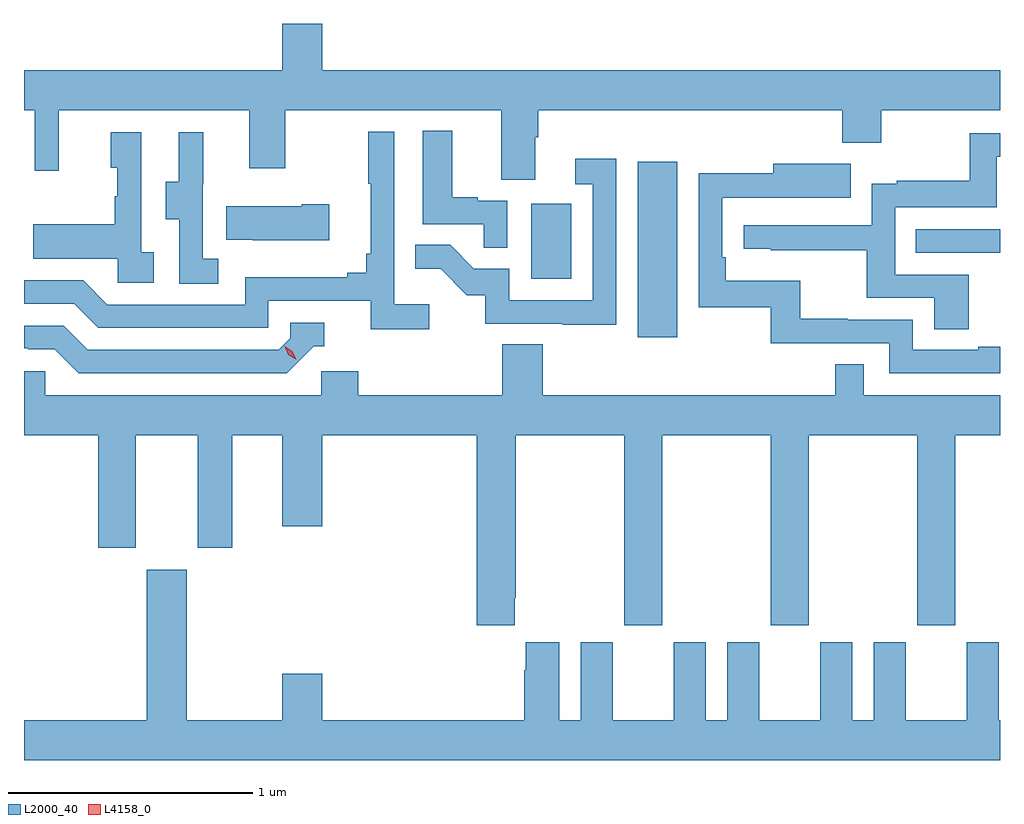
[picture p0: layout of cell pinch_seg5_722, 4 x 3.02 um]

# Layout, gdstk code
import gdstk
lib = gdstk.Library(unit=1e-6, precision=1e-09)
def R(c, l, rs):  # rectangles x0, y0, x1, y1
    for r in rs: c.add(gdstk.rectangle(r[:2], r[2:], *l))
def P(c, l, *ps):  # polygons
    for p in ps: c.add(gdstk.Polygon(p, *l))
L2000_40 = (2000, 40)
L4158_0 = (4158, 0)

pinch_seg5_722 = lib.new_cell('pinch_seg5_722')
R(pinch_seg5_722, L2000_40, [(1113.518,845.172,1113.679,845.893), (1113.08,845.412,1113.244,845.719), (1114.657,845.52,1115.002,845.616)])
P(pinch_seg5_722, L2000_40, [(1113.097,845.992),(1113.11,845.992),(1113.11,846.104),(1114.355,846.104),(1114.355,845.969),(1114.515,845.969),(1114.515,846.104),(1115.002,846.104),(1115.002,846.268),(1112.224,846.268),(1112.224,846.457),(1112.06,846.457),(1112.06,846.268),(1111.002,846.268),(1111.002,846.104),(1111.047,846.104),(1111.047,845.856),(1111.145,845.856),(1111.145,846.104),(1111.925,846.104),(1111.925,845.865),(1112.073,845.865),(1112.073,846.104),(1112.957,846.104),(1112.957,845.818),(1113.097,845.818)],
  [(1112.982,845.733),(1112.861,845.733),(1112.861,845.746),(1112.758,845.746),(1112.758,846.019),(1112.636,846.019),(1112.636,845.637),(1112.887,845.637),(1112.887,845.539),(1112.982,845.539)],
  [(1112.662,845.308),(1112.52,845.308),(1112.52,846.016),(1112.412,846.016),(1112.412,845.803),(1112.423,845.803),(1112.423,845.515),(1112.404,845.515),(1112.404,845.438),(1112.327,845.438),(1112.327,845.419),(1111.908,845.419),(1111.908,845.307),(1111.344,845.307),(1111.245,845.406),(1111.002,845.406),(1111.002,845.31),(1111.208,845.31),(1111.307,845.211),(1112.004,845.211),(1112.004,845.322),(1112.423,845.322),(1112.423,845.206),(1112.662,845.206)],
  [(1111.798,845.495),(1111.734,845.495),(1111.734,845.799),(1111.736,845.799),(1111.736,846.013),(1111.637,846.013),(1111.637,845.811),(1111.583,845.811),(1111.583,845.656),(1111.638,845.656),(1111.638,845.392),(1111.798,845.392)],
  [(1111.534,845.522),(1111.482,845.522),(1111.482,846.013),(1111.358,846.013),(1111.358,845.868),(1111.384,845.868),(1111.384,845.75),(1111.374,845.75),(1111.374,845.635),(1111.039,845.635),(1111.039,845.495),(1111.386,845.495),(1111.386,845.397),(1111.534,845.397)],
  [(1114.873,845.43),(1114.572,845.43),(1114.572,845.706),(1114.989,845.706),(1114.989,845.912),(1115.002,845.912),(1115.002,846.009),(1114.878,846.009),(1114.878,845.815),(1114.579,845.815),(1114.579,845.803),(1114.476,845.803),(1114.476,845.631),(1113.951,845.631),(1113.951,845.535),(1114.063,845.535),(1114.063,845.53),(1114.456,845.53),(1114.456,845.334),(1114.733,845.334),(1114.733,845.206),(1114.873,845.206)],
  [(1113.429,845.905),(1113.261,845.905),(1113.261,845.799),(1113.333,845.799),(1113.333,845.325),(1112.991,845.325),(1112.991,845.454),(1112.846,845.454),(1112.748,845.552),(1112.605,845.552),(1112.605,845.453),(1112.709,845.453),(1112.816,845.346),(1112.893,845.346),(1112.893,845.229),(1113.211,845.229),(1113.211,845.224),(1113.429,845.224)],
  [(1115.002,845.134),(1114.913,845.134),(1114.913,845.121),(1114.644,845.121),(1114.644,845.244),(1114.379,845.244),(1114.379,845.249),(1114.183,845.249),(1114.183,845.404),(1113.878,845.404),(1113.878,845.5),(1113.864,845.5),(1113.864,845.745),(1114.177,845.745),(1114.177,845.744),(1114.391,845.744),(1114.391,845.884),(1114.073,845.884),(1114.073,845.846),(1113.768,845.846),(1113.768,845.295),(1114.062,845.295),(1114.062,845.148),(1114.548,845.148),(1114.548,845.025),(1115.002,845.025)],
  [(1112.254,845.718),(1112.141,845.718),(1112.141,845.71),(1111.831,845.71),(1111.831,845.573),(1111.939,845.573),(1111.939,845.57),(1112.254,845.57)],
  [(1112.19,845.136),(1112.233,845.136),(1112.233,845.232),(1112.094,845.232),(1112.094,845.169),(1112.046,845.121),(1111.263,845.121),(1111.164,845.22),(1111.002,845.22),(1111.002,845.127),(1111.02,845.127),(1111.02,845.124),(1111.127,845.124),(1111.226,845.025),(1112.079,845.025)],
  [(1113.013,844.105),(1113.018,844.105),(1113.018,844.772),(1113.463,844.772),(1113.463,843.993),(1113.618,843.993),(1113.618,844.772),(1114.063,844.772),(1114.063,843.993),(1114.218,843.993),(1114.218,844.772),(1114.663,844.772),(1114.663,843.993),(1114.818,843.993),(1114.818,844.772),(1115.002,844.772),(1115.002,844.936),(1114.443,844.936),(1114.443,845.063),(1114.327,845.063),(1114.327,844.936),(1113.128,844.936),(1113.128,845.144),(1112.963,845.144),(1112.963,844.936),(1112.372,844.936),(1112.372,845.034),(1112.22,845.034),(1112.22,844.936),(1111.089,844.936),(1111.089,845.034),(1111.002,845.034),(1111.002,844.772),(1111.307,844.772),(1111.307,844.311),(1111.459,844.311),(1111.459,844.772),(1111.715,844.772),(1111.715,844.311),(1111.855,844.311),(1111.855,844.772),(1112.06,844.772),(1112.06,844.398),(1112.224,844.398),(1112.224,844.772),(1112.858,844.772),(1112.858,843.993),(1113.013,843.993)],
  [(1115.002,843.604),(1114.996,843.604),(1114.996,843.922),(1114.865,843.922),(1114.865,843.604),(1114.615,843.604),(1114.615,843.922),(1114.484,843.922),(1114.484,843.604),(1114.396,843.604),(1114.396,843.922),(1114.265,843.922),(1114.265,843.604),(1114.015,843.604),(1114.015,843.922),(1113.884,843.922),(1113.884,843.604),(1113.796,843.604),(1113.796,843.922),(1113.665,843.922),(1113.665,843.604),(1113.415,843.604),(1113.415,843.922),(1113.284,843.922),(1113.284,843.604),(1113.196,843.604),(1113.196,843.922),(1113.059,843.922),(1113.059,843.809),(1113.053,843.809),(1113.053,843.604),(1112.224,843.604),(1112.224,843.793),(1112.06,843.793),(1112.06,843.604),(1111.669,843.604),(1111.669,844.219),(1111.505,844.219),(1111.505,843.604),(1111.002,843.604),(1111.002,843.44),(1115.002,843.44)])
P(pinch_seg5_722, L4158_0, [(1112.116,845.082),(1112.086,845.102),(1112.07,845.135),(1112.07,845.135),(1112.071,845.135),(1112.101,845.115),(1112.117,845.083),(1112.117,845.082)])

lib.write_gds('pinch_seg5_722.gds')
